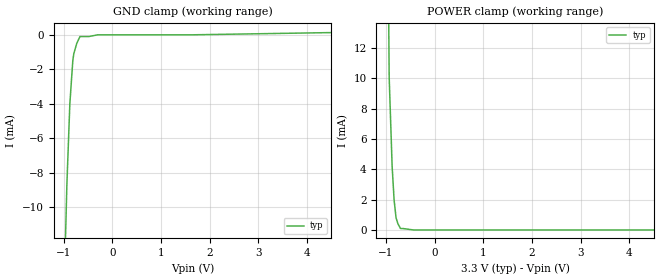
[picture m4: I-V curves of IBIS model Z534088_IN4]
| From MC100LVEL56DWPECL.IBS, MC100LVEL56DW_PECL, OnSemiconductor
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| (C) COPYRIGHT 1993-2000
| MENTOR GRAPHICS CORPORATION
| ICX STANDARD LIBRARY, ICX PROJECT MODELING,
| ICX CUSTOM MODELING, ICX VENDOR MODEL
| ALL RIGHTS RESERVED.
| THE FOLLOWING ARE TRADEMARKS OR SERVICE MARKS OF
| MENTOR GRAPHICS CORPORATION:ICX (R), ICX STANDARD
| LIBRARY(R), ICX PROJECT MODELING(R), ICX CUSTOM
| MODELING(R), qualityIBIS(TM), MODELVIEWER(TM),
| AND MODELEDITOR(TM)
| ALL COPIES OF SOFTWARE, INCLUDING BUT NOT LIMITED TO
| ANY MODIFICATIONS, ENHANCEMENTS OR DERIVATIVE WORKS,
| MUST CONTAIN ALL MENTOR GRAPHICS CORPORATION'S
| NOTICES AND LEGENDS, INCLUDING THOSE EMBEDDED IN
| SOFTWARE AND THOSE AFFIXED TO SOFTWARE MEDIUM
| AND CONTAINER, AS RECEIVED FROM MENTOR GRAPHICS
| CORPORATION.
| Model Application Version 1.89 2/18/99.
[Model] Z534088_IN4
Model_type Input_ECL
Vinl = 2.115V
Vinh = 2.301V
C_comp 4.000pF NA NA
| variable typ   min   max
[Voltage Range] 3.300V NA NA
[GND Clamp Reference] 0.000V NA NA
[POWER Clamp Reference] 3.300V NA NA
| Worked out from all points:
|   GND clamp passes 1 mA (typ) near -0.78 V on its own axis
|   POWER clamp passes 1 mA (typ) near -0.80 V on its own axis
[GND Clamp]
-3.3V     -508.8mA   NA         NA
-1.013V   -17.6mA    NA         NA
-932mV    -8.7mA     NA         NA
-871mV    -4mA       NA         NA
-810mV    -1.5mA     NA         NA
-790mV    -1.1mA     NA         NA
-729mV    -500uA     NA         NA
-663.2mV  -100uA     NA         NA
-481mV    -100uA     NA         NA
-298.7mV  0A         NA         NA
1.642V    0A         NA         NA
6.6V      224.4uA    NA         NA
[POWER Clamp]
-3.3V     860.8mA    NA         NA
-1.26V    139.6mA    NA         NA
-936mV    10.08mA    NA         NA
-875mV    4.185mA    NA         NA
-835mV    1.987mA    NA         NA
-794mV    789uA      NA         NA
-754mV    390.8uA    NA         NA
-703mV    95.43uA    NA         NA
-434.7mV  0A         NA         NA
6.6V      0A         NA         NA
